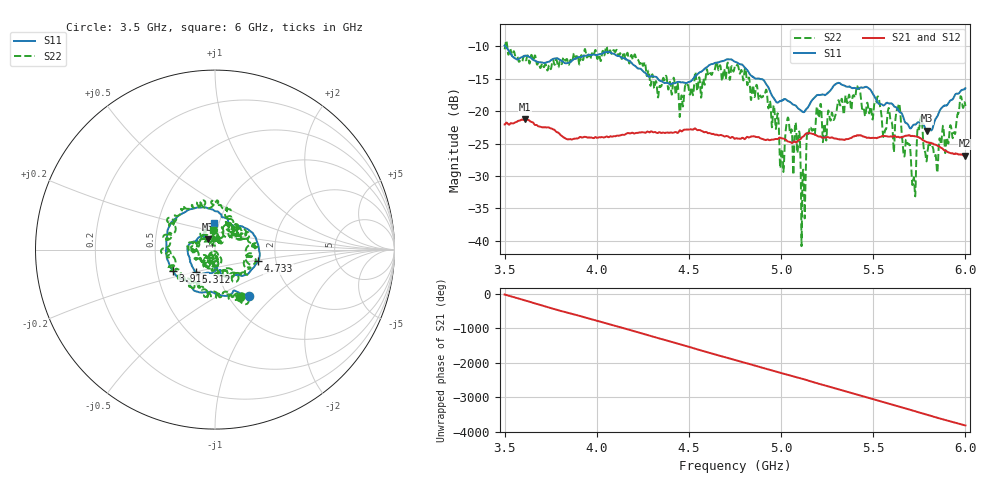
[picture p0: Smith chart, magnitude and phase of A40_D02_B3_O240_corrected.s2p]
! Created with skrf 1.9.0 (http://scikit-rf.org).
# Hz S RI R 50.0
!freq ReS11 ImS11 ReS21 ImS21 ReS12 ImS12 ReS22 ImS22
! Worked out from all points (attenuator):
!   1601 points, 3.5 GHz to 6 GHz, reference 50 ohm
!   highest |S21| = -21.27 dB at 3.609 GHz (marker M1); lowest = -26.9 dB at 5.997 GHz (marker M2)
!   lowest |S11| = -23.0 dB at 5.791 GHz (marker M3), VSWR 1.15, Z = 45.7 + j5.24 ohm
!   |S11| at or under -10 dB: 3.505 GHz to end of sweep
!   |S22| runs from -40.8 to -9.1 dB; largest |S21 - S12| = 0.00098
!   S11 on the Smith chart (normalised r, x): 3.5 GHz: 1.25, -0.72; 3.916 GHz: 0.61, -0.16; 4.733 GHz: 1.62, -0.22; 5.312 GHz: 0.78, -0.20; 6 GHz: 0.95, +0.29
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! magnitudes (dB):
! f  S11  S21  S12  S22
! 3.5 GHz  -9.9  -22.1  -22.0  -10.5
! 3.609 GHz  -11.4  -21.3  -21.3  -11.7
! 3.916 GHz  -11.6  -24.0  -24.0  -11.4
! 3.917 GHz  -11.6  -24.1  -24.0  -11.3
! 4.198 GHz  -12.8  -23.4  -23.4  -11.9
! 4.334 GHz  -15.1  -23.3  -23.2  -17.6
! 4.733 GHz  -12.1  -24.0  -24.0  -13.1
! 4.75 GHz  -12.4  -24.3  -24.2  -12.9
! 4.928 GHz  -16.2  -24.4  -24.3  -19.0
! 5.005 GHz  -18.3  -24.2  -24.2  -25.8
! 5.034 GHz  -18.4  -24.6  -24.5  -21.3
! 5.088 GHz  -19.4  -24.7  -24.7  -26.4
! 5.12 GHz  -20.1  -23.9  -23.8  -29.0
! 5.167 GHz  -18.3  -23.5  -23.4  -23.0
! 5.312 GHz  -15.6  -24.3  -24.3  -18.3
! 5.584 GHz  -18.8  -23.9  -23.9  -19.5
! 5.638 GHz  -19.9  -24.0  -23.9  -19.0
! 5.719 GHz  -22.1  -23.8  -23.8  -30.4
! 5.752 GHz  -21.8  -24.1  -24.1  -22.2
! 5.791 GHz  -23.0  -24.8  -24.7  -27.5
! 5.997 GHz  -16.6  -26.9  -26.8  -18.7
! 6 GHz  -16.5  -26.9  -26.8  -19.2
